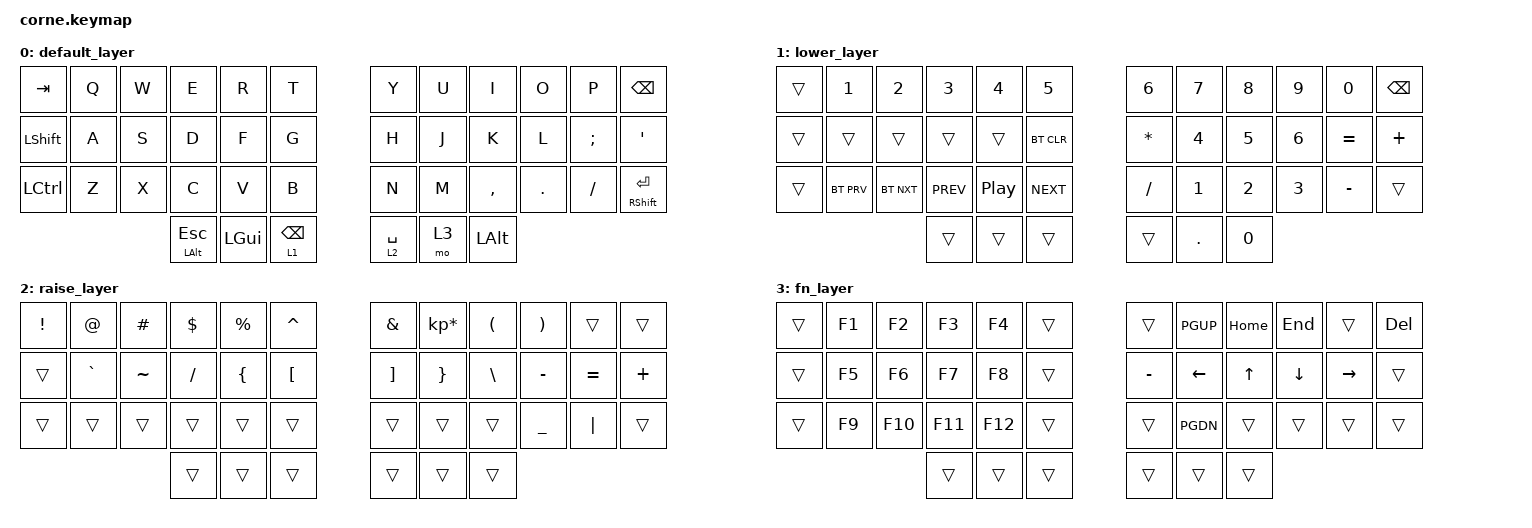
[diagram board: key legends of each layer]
/*
 * Copyright (c) 2020 The ZMK Contributors
 *
 * SPDX-License-Identifier: MIT
 */

#include <behaviors.dtsi>
#include <dt-bindings/zmk/keys.h>
#include <dt-bindings/zmk/bt.h>

&lt {
    tapping-term-ms = <250>;
};

/ {
        keymap {
                compatible = "zmk,keymap";

                default_layer {
// -----------------------------------------------------------------------------------------
// | TAB  |  Q  |  W  |  E  |  R  |  T   |   |  Y  |  U   |  I  |  O  |  P  | BSPC |
// | SHFT |  A  |  S  |  D  |  F  |  G   |   |  H  |  J   |  K  |  L  |  ;  |  '   |
// | CTRL |  Z  |  X  |  C  |  V  |  B   |   |  N  |  M   |  ,  |  .  |  /  | RET/SHFT  |
//                  |ESC/ALT| GUI |^/BSPC|   | SPC | FN | ALT |
        bindings = <
        &kp TAB &kp Q &kp W &kp E &kp R &kp T &kp Y &kp U &kp I &kp O &kp P &kp BSPC
        &kp LSHFT &kp A &kp S &kp D &kp F &kp G &kp H &kp J &kp K &kp L &kp SEMI &kp SQT
        &kp LCTRL &kp Z &kp X &kp C &kp V &kp B &kp N &kp M &kp COMMA &kp DOT &kp FSLH &mt RSHFT RET
                &mt LALT ESC &kp LGUI &lt 1 BSPC &lt 2 SPACE &mo 3 &kp LALT
        >;
                };

                lower_layer {
// -----------------------------------------------------------------------------------------
// |    |  1  |  2  |  3  |  4  |  5  |   |  6  |  7  |  8  |  9  |  0  | BSPC |
// |    |     |     |     |     |BTCLR|   |  *  |  4  |  5  |  6  |  =  |  +   |
// |    |BTPRV|BTNXT| <<  | ||> |  >> |   |  /  |  1  |  2  |  3  |  -  |      |
//                  |     |     |     |   |     |  .  |  0  |
        bindings = <
        &trans &kp N1 &kp N2 &kp N3 &kp N4 &kp N5     &kp N6 &kp N7 &kp N8 &kp N9 &kp N0 &kp BSPC
        &trans &trans &trans &trans &trans &bt BT_CLR      &kp STAR &kp N4 &kp N5  &kp N6 &kp EQUAL &kp PLUS
        &trans &bt BT_PRV &bt BT_NXT &kp C_PREV &kp C_PP &kp C_NEXT     &kp FSLH &kp N1 &kp N2  &kp N3 &kp MINUS &trans
                        &trans &trans   &trans   &trans   &kp DOT  &kp N0
        >;
                };

                raise_layer {
// -----------------------------------------------------------------------------------------
// |  !   |  @  |  #  |  $  |  %  |   ^  |   |  &  |  *  |  (  |  )  |     | BSPC |
// |      |  `  |  ~  |  /  |  {  |   [  |   |  ]  |  }  |  \  |  -  |  =  |  +   |
// |      |     |     |     |     |      |   |     |     |     |  _  | "|" |      |
//                    |     |     |      |   |     |     |     |
        bindings = <
        &kp EXCL &kp AT &kp HASH &kp DLLR &kp PRCNT &kp CARET     &kp AMPS &kp KP_MULTIPLY &kp LPAR &kp RPAR &trans &trans
        &trans &kp GRAVE &kp TILDE &kp FSLH &kp LBRC &kp LBKT         &kp RBKT &kp RBRC &kp BSLH &kp MINUS &kp EQUAL &kp PLUS
        &trans &trans &trans &trans &trans &trans         &trans &trans &trans &kp UNDER &kp PIPE &trans
                                        &trans &trans &trans      &trans &trans &trans
                >;

                };

                fn_layer {
// -----------------------------------------------------------------------------------------
// |     | F1  | F2  | F3  | F4  |     |   |     | PGUP |HOME | END |     | DEL |
// |     | F5  | F6  | F7  | F8  |     |   |  -  |  <   |  ^  | DN  |  >  |     |
// |     | F9  | F10 | F11 | F12 |     |   |     | PGDN |     |     |     |     |
//                   |     |     |     |   |     |      |     |
        bindings = <
        &trans &kp F1 &kp F2 &kp F3 &kp F4 &trans     &trans &kp PGUP &kp HOME &kp END &trans &kp DEL
        &trans &kp F5 &kp F6 &kp F7 &kp F8 &trans     &kp MINUS &kp LEFT &kp UP &kp DOWN &kp RIGHT &trans 
        &trans &kp F9 &kp F10 &kp F11 &kp F12 &trans      &trans &kp PGDN &trans &trans &trans &trans 
                             &trans &trans &trans     &trans &trans &trans
                        >;
                };
        };
};


